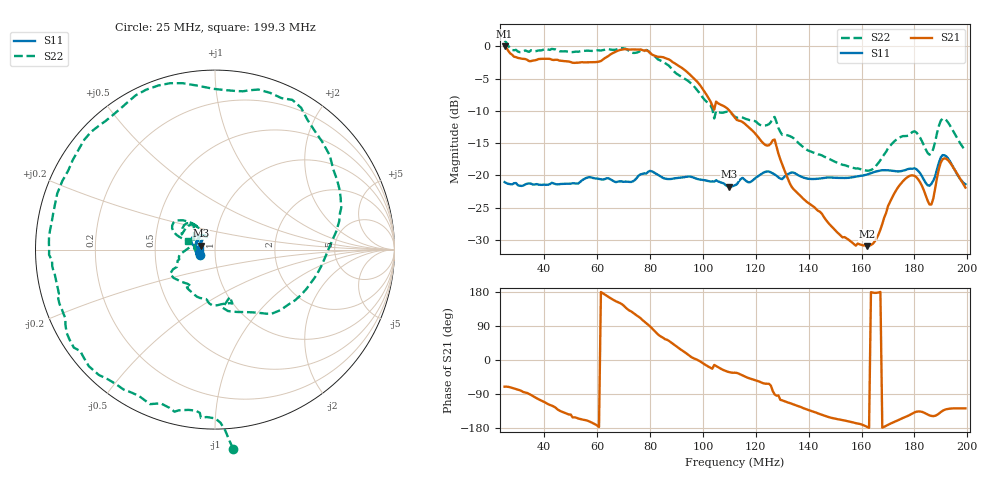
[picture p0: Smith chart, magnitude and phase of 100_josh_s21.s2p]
!Created with skrf (http://scikit-rf.org).
# Hz S RI R 50.0
!freq ReS11 ImS11 ReS21 ImS21 ReS12 ImS12 ReS22 ImS22
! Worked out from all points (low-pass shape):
!   245 points, 25 MHz to 199.3 MHz, reference 50 ohm
!   highest |S21| = 0.00 dB at 25 MHz (marker M1); lowest = -31.0 dB at 162.1 MHz (marker M2)
!   |S21| within 3 dB of the highest: start of sweep to 90.75 MHz
!   lowest |S11| = -21.8 dB at 110 MHz (marker M3), VSWR 1.18, Z = 42.7 + j1.81 ohm
!   |S11| at or under -10 dB: start of sweep to end of sweep
!   |S22| runs from -19.3 to 0.9 dB; largest |S21 - S12| = 1
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2.5e7  -0.0833 -0.0299  0.3354 -0.9426  0 0  0.1002 -1.108
2.857e7  -0.082 -0.0289  0.2092 -0.8054  0 0  -0.0462 -0.9328
4.286e7  -0.0797 -0.0361  -0.3986 -0.6805  0 0  -0.7866 -0.546
5.429e7  -0.0839 -0.0363  -0.6945 -0.2959  0 0  -0.9246 -0.0286
6.214e7  -0.0842 -0.0389  -0.789 0.0525  0 0  -0.7924 0.4993
7.071e7  -0.0854 -0.0264  -0.7165 0.6272  0 0  -0.2503 0.9271
7.857e7  -0.1009 -0.0217  -0.116 0.9261  0 0  0.4313 0.8341
8.357e7  -0.0981 -0.0154  0.3582 0.7497  0 0  0.6802 0.3883
9.071e7  -0.0946 -0.0131  0.6011 0.3761  0 0  0.5958 -0.0853
9.714e7  -0.0948 0.00111  0.5504 0.0271  0 0  0.3154 -0.3575
1.0429e8  -0.0867 0.0211  0.3152 -0.0725  0 0  0.0827 -0.2636
1.1e8  -0.0787 0.0211  0.2696 -0.1695  0 0  -0.0175 -0.3086
1.1286e8  -0.0847 0.0091  0.2223 -0.151  0 0  -0.0509 -0.275
1.2714e8  -0.0987 -0.0239  -0.00278 -0.1895  0 0  -0.2499 -0.1348
1.3357e8  -0.1031 -0.0203  -0.0351 -0.0735  0 0  -0.1963 -0.0289
1.4143e8  -0.0925 -0.0141  -0.0413 -0.0406  0 0  -0.1509 0.00582
1.6214e8  -0.0969 -0.03  -0.0281 -0.00164  0 0  -0.1085 -0.000526
1.7071e8  -0.0947 0.0539  -0.0606 -0.0122  0 0  -0.1176 0.1205
1.7929e8  -0.105 0.04  -0.0776 -0.063  0 0  -0.1819 0.118
1.8643e8  -0.0484 0.071  -0.0501 -0.0318  0 0  -0.0872 0.1194
1.9143e8  -0.1316 0.056  -0.0896 -0.1016  0 0  -0.2388 0.1342
1.9929e8  -0.0853 0.00283  -0.0489 -0.0637  0 0  -0.1491 0.0458
